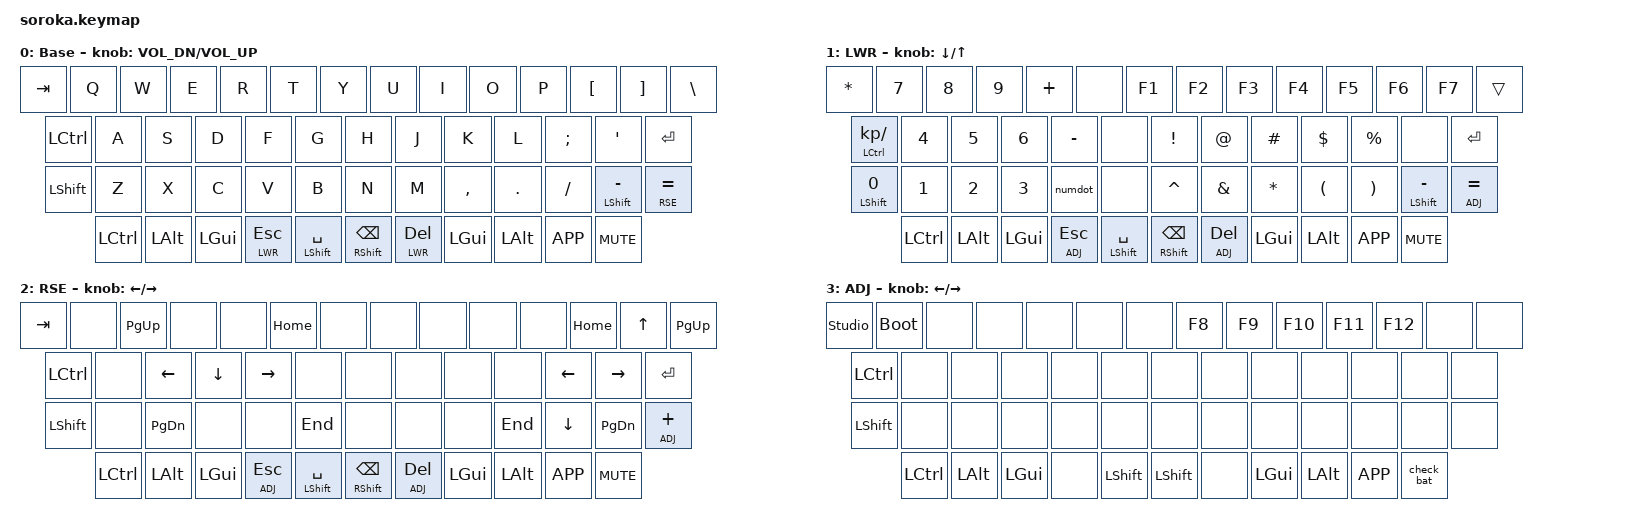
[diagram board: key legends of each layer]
/*
 * Copyright (c) 2022 The ZMK Contributors
 *
 * SPDX-License-Identifier: MIT
 */

#include <behaviors.dtsi>
#include <dt-bindings/zmk/keys.h>
#include <dt-bindings/zmk/bt.h>
#include <dt-bindings/zmk/outputs.h>
#include <dt-bindings/zmk/ext_power.h>
#include <dt-bindings/zmk/rgb.h>
#include <dt-bindings/zmk/mouse.h>

#define DEF 0
#define LWR   1
#define RSE   2
#define ADJ  3
#define EXT1  4
#define EXT2  5

&lt { quick-tap-ms = <200>; };
&mt { quick-tap-ms = <200>; };

/ {
    macros {
        numdot: numdot {
            label = "ZM_numdot";
            compatible = "zmk,behavior-macro";
            #binding-cells = <0>;
            wait-ms = <40>;
            tap-ms = <40>;
            bindings
                = <&macro_press   &kp LALT>    
                , <&macro_tap     &kp KP_N4 &kp KP_N6>    
                , <&macro_release &kp LALT>
                ;
            };
        };
};
/ {
    keymap {
        compatible = "zmk,keymap";
        DEF_layer {
            display-name = "Base";
            bindings = <
                &kp TAB   &kp Q     &kp W     &kp E     &kp R     &kp T     &kp Y     &kp U     &kp I     &kp O     &kp P     &kp LBKT  &kp RBKT  &kp BSLH
                &kp LCTRL    &kp A     &kp S     &kp D     &kp F     &kp G     &kp H     &kp J     &kp K     &kp L     &kp SCLN  &kp QUOT          &kp ENTER
                &kp LSHFT     &kp Z     &kp X     &kp C     &kp V     &kp B     &kp N     &kp M     &kp COMMA &kp DOT   &kp FSLH        &mt LSHFT MINUS &lt RSE EQUAL 
                &kp LCTRL &kp LALT &kp   LGUI          &lt LWR ESC      &mt LSHFT SPACE         &mt RSHFT BSPC       &lt LWR DEL       &kp LGUI &kp LALT &kp K_APP          &kp C_MUTE
            >;
            sensor-bindings = <&inc_dec_kp C_VOL_DN C_VOL_UP>;
        };

        LWR_layer {
            display-name = "LWR";
            bindings = <
                &kp STAR   &kp N7  &kp N8  &kp  N9 &kp PLUS   &none  &kp F1   &kp F2 &kp F3  &kp  F4  &kp F5   &kp F6   &kp F7  &trans 
                &mt LCTRL KP_SLASH      &kp N4  &kp N5  &kp N6  &kp  MINUS  &none   &kp EXCL      &kp AT    &kp HASH   &kp DLLR  &kp PRCNT &none     &kp ENTER
                &mt LSHFT N0         &kp  N1 &kp N2  &kp  N3   &numdot  &none &kp CARET   &kp AMPS   &kp  STAR &kp LPAR   &kp RPAR  &mt LSHFT MINUS &lt ADJ EQUAL 
                &kp LCTRL &kp LALT &kp  LGUI      &lt ADJ ESC      &mt LSHFT SPACE         &mt RSHFT BSPC       &lt ADJ DEL       &kp LGUI &kp LALT &kp K_APP           &kp C_MUTE          
            >;
            sensor-bindings = <&inc_dec_kp DOWN UP>;
        };

        RSE_layer {
            display-name = "RSE";
            bindings = <
                &kp TAB    &none &kp PG_UP  &none &none &kp HOME  &none  &none &none  &none  &none   &kp HOME   &kp UP  &kp PG_UP 
                &kp LCTRL   &none    &kp LEFT  &kp DOWN  &kp RIGHT      &none   &none   &none &none  &none   &kp LEFT  &kp RIGHT     &kp ENTER
                &kp LSHFT         &none   &kp  PG_DN    &none &none  &kp END  &none    &none    &none &kp END   &kp DOWN &kp PG_DN &lt ADJ PLUS
                &kp LCTRL &kp LALT &kp  LGUI    &lt ADJ ESC      &mt LSHFT SPACE     &mt RSHFT BSPC       &lt ADJ DEL        &kp LGUI &kp LALT &kp K_APP        &kp C_MUTE        
            >;
            sensor-bindings = <&inc_dec_kp LEFT RIGHT>;
        };

        ADJ_layer {
            display-name = "ADJ";
            bindings = <
                &studio_unlock &bootloader   &none  &none &none   &none &none &kp F8   &kp F9 &kp F10  &kp  F11  &kp F12   &none   &none
                &kp LCTRL      &none   &none   &none   &none    &none    &none    &none   &none   &none   &none   &none       &none 
                &kp LSHFT         &none  &none   &none     &none   &none    &none    &none    &none   &none    &none   &none  &none 
                &kp LCTRL &kp LALT &kp  LGUI       &none      &kp LSHFT        &kp LSHFT         &none          &kp LGUI &kp LALT &kp K_APP                 &check_bat           
            >;
            sensor-bindings = <&inc_dec_kp LEFT RIGHT>;
        };

        EXT1 {
            display-name = "EXT1";
            status = "reserved";
        };

        EXT2 {
            display-name = "EXT2";
            status = "reserved";
        };
    };
};


